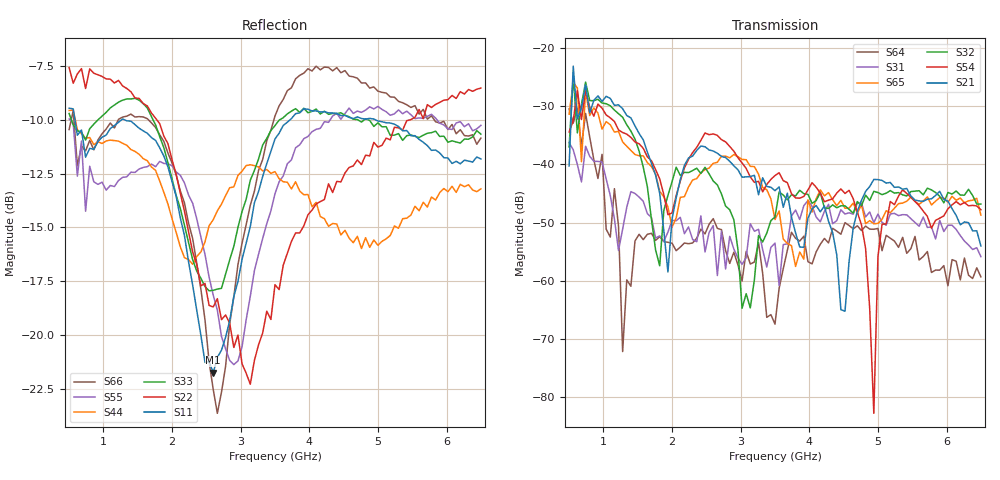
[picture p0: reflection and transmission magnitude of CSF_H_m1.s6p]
!Keysight Technologies,M9804A,MY58100912,A.14.10.03
!Date: Thursday, April 27, 2023 10:28:33
!Correction: S11(C  6-Port  )
!S12(C  6-Port  )
!S13(C  6-Port  )
!S14(C  6-Port  )
!S15(C  6-Port  )
!S16(C  6-Port  )
!S21(C  6-Port  )
!S22(C  6-Port  )
!S23(C  6-Port  )
!S24(C  6-Port  )
!S25(C  6-Port  )
!S26(C  6-Port  )
!S31(C  6-Port  )
!S32(C  6-Port  )
!S33(C  6-Port  )
!S34(C  6-Port  )
!S35(C  6-Port  )
!S36(C  6-Port  )
!S41(C  6-Port  )
!S42(C  6-Port  )
!S43(C  6-Port  )
!S44(C  6-Port  )
!S45(C  6-Port  )
!S46(C  6-Port  )
!S51(C  6-Port  )
!S52(C  6-Port  )
!S53(C  6-Port  )
!S54(C  6-Port  )
!S55(C  6-Port  )
!S56(C  6-Port  )
!S61(C  6-Port  )
!S62(C  6-Port  )
!S63(C  6-Port  )
!S64(C  6-Port  )
!S65(C  6-Port  )
!S66(C  6-Port  )
!S6P File: Measurement: :
# Hz S  RI  R 50
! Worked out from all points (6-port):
!   101 points, 500 MHz to 6.5 GHz, reference 50 ohm
!   strongest paths, dB at 500 MHz, 2 GHz, 3.5 GHz, 5 GHz, 6.5 GHz:
!     S21: -40.3, -49.4, -44.5, -42.6, -54.0
!     S54: -34.4, -48.4, -41.9, -55.9, -47.8
!     S32: -37.0, -43.0, -49.0, -44.8, -46.8
!     S65: -31.3, -50.8, -49.5, -50.2, -48.7
!     S31: -36.2, -49.6, -53.6, -48.6, -55.9
!     S64: -30.4, -53.6, -67.5, -51.0, -59.4
!   lowest |S11| = -21.7 dB at 2.6 GHz (marker M1), VSWR 1.18, Z = 42.7 + j1.96 ohm
!   |S11| at or under -10 dB: 584.7 MHz to 1.266 GHz (681.5 MHz wide, 73.6 % of centre); 1.305 GHz to 3.72 GHz (2.416 GHz wide, 96.2 % of centre); 4.962 GHz to end of sweep
